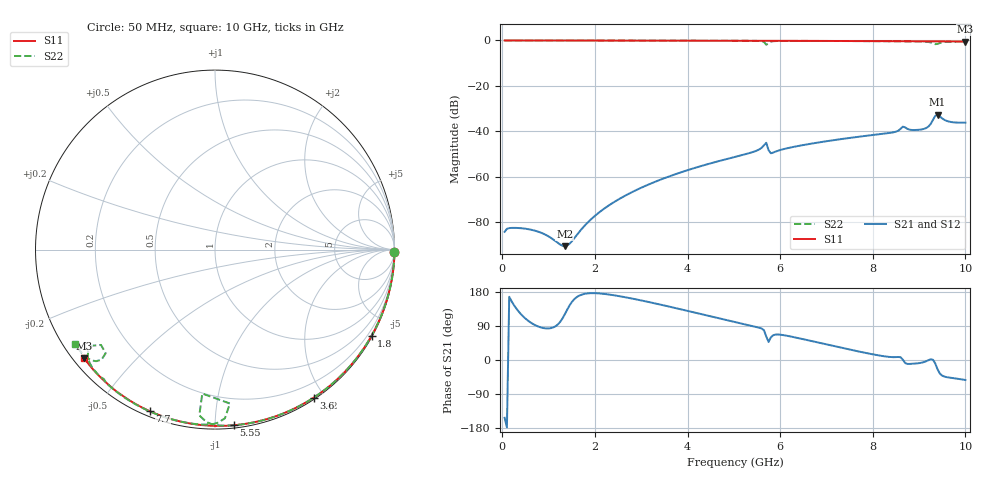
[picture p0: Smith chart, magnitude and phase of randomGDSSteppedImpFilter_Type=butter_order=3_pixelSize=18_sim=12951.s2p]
! freq	dB(S11)	phase(S11)	dB(S12)	phase(S12)
!  dB(S21)	phase(S21)	dB(S22)	phase(S22)
!S-par simulation data
#  GHz  S  DB  R 50
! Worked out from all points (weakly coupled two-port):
!   200 points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, 50 MHz to 10 GHz, reference 50 ohm
!   highest |S21| = -32.77 dB at 9.4 GHz (marker M1); lowest = -90.7 dB at 1.35 GHz (marker M2)
!   lowest |S11| = -0.5 dB at 10 GHz (marker M3), VSWR 36.98, Z = 1.53 - j18 ohm
!   |S11| at or under -10 dB: nowhere
!   |S22| runs from -1.9 to 0.0 dB; largest |S21 - S12| = 0
!   S11 on the Smith chart (normalised r, x): 50 MHz: open; 1.8 GHz: 0.03, -3.88; 3.6 GHz: 0.02, -1.87; 5.55 GHz: 0.02, -1.11; 7.7 GHz: 0.02, -0.67; 10 GHz: 0.03, -0.36
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0.05  -0.00 -0.8  -84.39 -152.5  -84.39 -152.5  -0.00 -0.9
1.35  -0.03 -21.8  -90.71 120.8  -90.71 120.8  -0.03 -22.9
1.75  -0.04 -28.1  -82.31 173.7  -82.31 173.7  -0.04 -29.6
1.8  -0.04 -28.9  -81.20 175.0  -81.20 175.0  -0.04 -30.4
2.55  -0.05 -40.5  -69.61 168.0  -69.61 168.0  -0.06 -42.7
3.4  -0.07 -53.4  -61.50 146.6  -61.50 146.6  -0.07 -56.2
3.6  -0.08 -56.4  -59.97 141.0  -59.97 141.0  -0.08 -59.3
5.05  -0.12 -77.1  -51.22 99.2  -51.22 99.2  -0.13 -81.6
5.55  -0.14 -84.0  -48.03 85.1  -48.03 85.1  -0.24 -91.0
5.65  -0.14 -85.3  -46.24 78.6  -46.24 78.6  -0.65 -95.4
5.7  -0.14 -86.0  -45.13 62.1  -45.13 62.1  -1.88 -95.1
5.75  -0.15 -86.7  -48.41 47.7  -48.41 47.7  -1.29 -84.5
5.8  -0.15 -87.4  -49.76 59.8  -49.76 59.8  -0.52 -86.6
6.7  -0.19 -99.2  -45.41 49.4  -45.41 49.4  -0.21 -103.6
7.7  -0.26 -112.0  -42.45 22.3  -42.45 22.3  -0.28 -117.4
8.35  -0.31 -120.1  -40.83 8.2  -40.83 8.2  -0.34 -126.4
8.65  -0.33 -123.7  -38.01 0.7  -38.01 0.7  -0.44 -130.6
8.85  -0.35 -126.3  -39.48 -10.0  -39.48 -10.0  -0.42 -133.3
9.15  -0.38 -129.9  -38.66 -3.4  -38.66 -3.4  -0.58 -138.9
9.4  -0.40 -132.9  -32.77 -25.0  -32.77 -25.0  -1.52 -136.5
9.65  -0.43 -136.1  -35.80 -46.3  -35.80 -46.3  -0.58 -140.2
10  -0.47 -140.3  -36.25 -52.8  -36.25 -52.8  -0.53 -146.0
